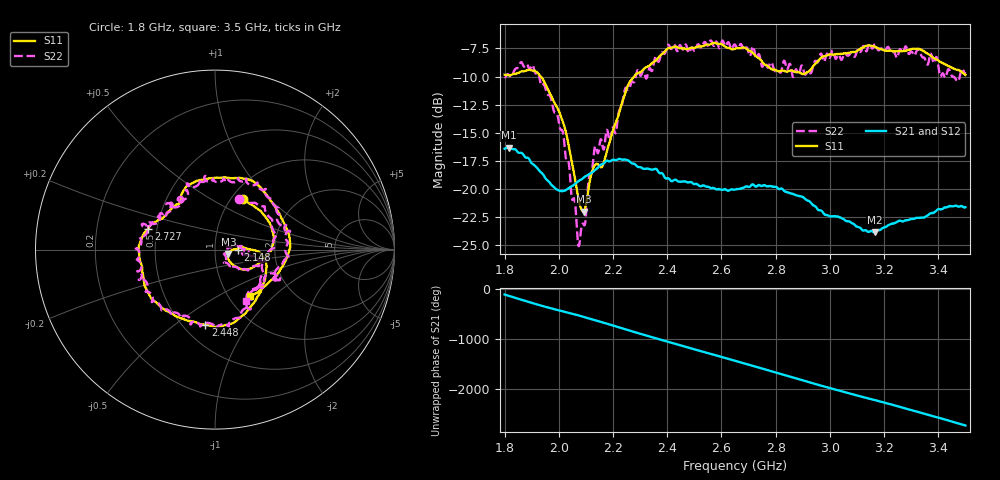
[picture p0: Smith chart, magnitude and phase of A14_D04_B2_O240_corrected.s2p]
! Created with skrf 1.9.0 (http://scikit-rf.org).
# Hz S RI R 50.0
!freq ReS11 ImS11 ReS21 ImS21 ReS12 ImS12 ReS22 ImS22
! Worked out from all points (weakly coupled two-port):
!   1601 points, 1.8 GHz to 3.5 GHz, reference 50 ohm
!   highest |S21| = -16.34 dB at 1.816 GHz (marker M1); lowest = -23.9 dB at 3.165 GHz (marker M2)
!   lowest |S11| = -22.1 dB at 2.091 GHz (marker M3), VSWR 1.17, Z = 58.1 - j2.81 ohm
!   |S11| at or under -10 dB: 1.934 GHz to 2.278 GHz (344 MHz wide, 16.3 % of centre)
!   |S22| runs from -25.1 to -6.8 dB; largest |S21 - S12| = 0.0025
!   S11 on the Smith chart (normalised r, x): 1.8 GHz: 1.13, +0.71; 2.148 GHz: 1.29, -0.00; 2.448 GHz: 0.64, -0.65; 2.727 GHz: 0.45, +0.12; 3.5 GHz: 1.25, -0.72
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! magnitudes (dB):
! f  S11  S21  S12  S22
! 1.8 GHz  -9.8  -16.4  -16.4  -10.0
! 1.816 GHz  -9.9  -16.3  -16.3  -9.9
! 1.902 GHz  -9.5  -17.8  -17.7  -9.0
! 1.967 GHz  -11.5  -19.5  -19.5  -11.7
! 2.022 GHz  -14.6  -20.2  -20.2  -16.4
! 2.071 GHz  -20.7  -19.4  -19.4  -24.9
! 2.084 GHz  -21.8  -19.2  -19.1  -23.4
! 2.091 GHz  -22.1  -19.0  -19.1  -23.1
! 2.129 GHz  -18.1  -18.4  -18.4  -16.8
! 2.148 GHz  -17.9  -18.0  -18.0  -16.4
! 2.209 GHz  -14.2  -17.5  -17.4  -15.1
! 2.26 GHz  -10.5  -17.6  -17.6  -11.1
! 2.367 GHz  -8.3  -18.5  -18.4  -8.7
! 2.448 GHz  -7.5  -19.4  -19.4  -7.2
! 2.65 GHz  -7.5  -20.1  -20.0  -7.2
! 2.727 GHz  -8.2  -19.8  -19.8  -8.3
! 2.934 GHz  -9.2  -21.4  -21.3  -9.5
! 3.165 GHz  -7.3  -23.9  -23.9  -7.1
! 3.217 GHz  -7.7  -23.2  -23.2  -7.4
! 3.333 GHz  -7.6  -22.6  -22.6  -7.9
! 3.414 GHz  -8.8  -21.8  -21.8  -9.8
! 3.5 GHz  -9.9  -21.7  -21.6  -9.6
